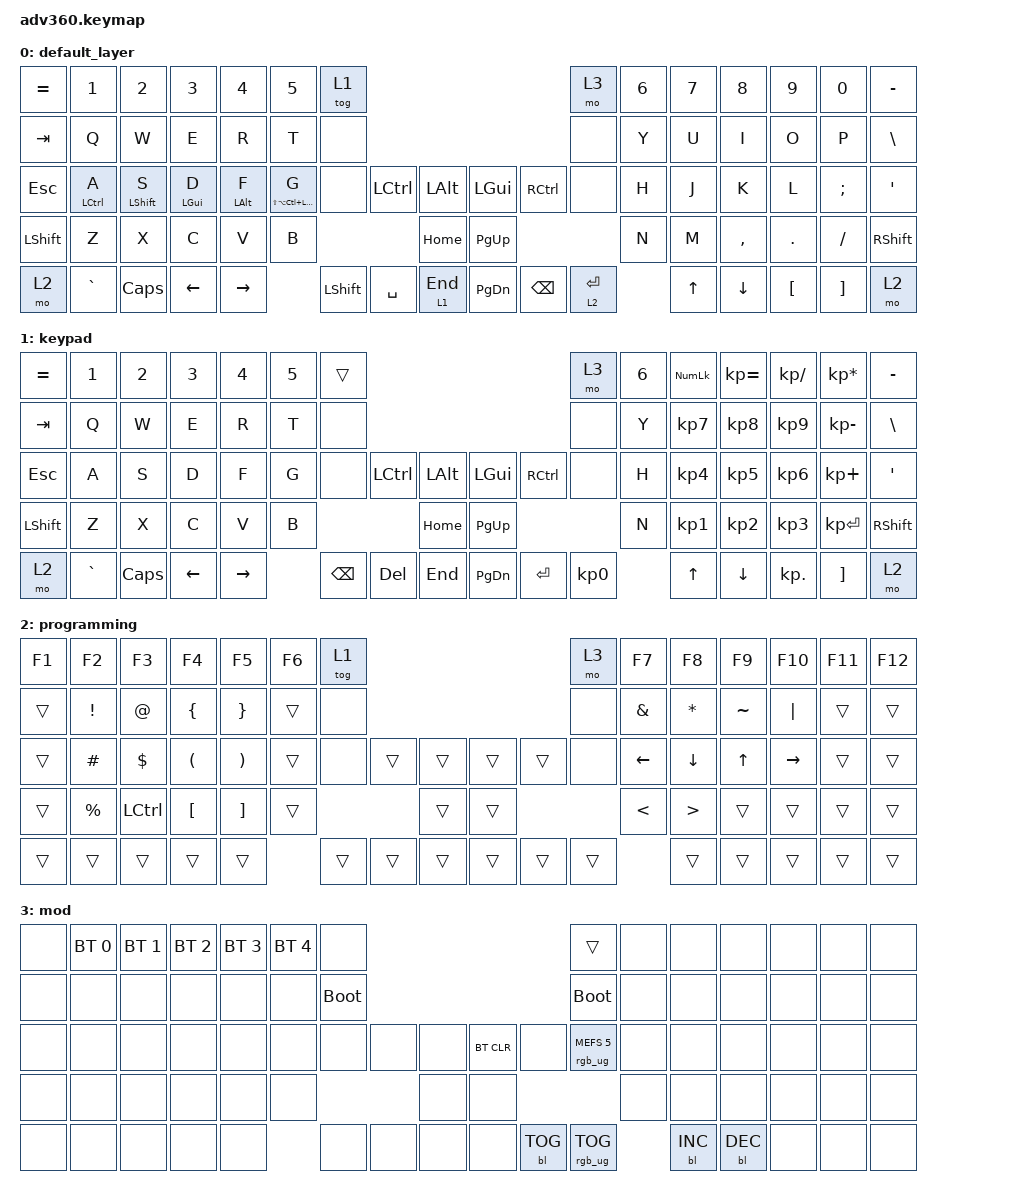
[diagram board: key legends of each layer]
#include <behaviors.dtsi>
#include <dt-bindings/zmk/backlight.h>
#include <dt-bindings/zmk/bt.h>
#include <dt-bindings/zmk/keys.h>
#include <dt-bindings/zmk/rgb.h>

/ {
    behaviors {
        #include "macros.dtsi"

        hm: homerow_mods {
            compatible = "zmk,behavior-hold-tap";
            label = "HOMEROW_MODS";
            #binding-cells = <2>;
            tapping-term-ms = <200>;
            quick_tap_ms = <175>;
            flavor = "tap-preferred";
            bindings = <&kp>, <&kp>;
        };
    };

    keymap {
        compatible = "zmk,keymap";

        default_layer {
            bindings = <
&kp EQUAL  &kp N1              &kp N2            &kp N3          &kp N4          &kp N5                      &tog 1                                                          &mo 3        &kp N6  &kp N7  &kp N8     &kp N9    &kp N0    &kp MINUS
&kp TAB    &kp Q               &kp W             &kp E           &kp R           &kp T                       &none                                                           &none        &kp Y   &kp U   &kp I      &kp O     &kp P     &kp BSLH
&kp ESC    &hm LEFT_CONTROL A  &hm LEFT_SHIFT S  &hm LEFT_GUI D  &hm LEFT_ALT F  &hm LS(LA(LC(LEFT_GUI))) G  &none       &kp LCTRL  &kp LALT       &kp LGUI   &kp RCTRL      &none        &kp H   &kp J   &kp K      &kp L     &kp SEMI  &kp SQT
&kp LSHFT  &kp Z               &kp X             &kp C           &kp V           &kp B                                              &kp HOME       &kp PG_UP                              &kp N   &kp M   &kp COMMA  &kp DOT   &kp FSLH  &kp RSHFT
&mo 2      &kp GRAVE           &kp CAPS          &kp LEFT        &kp RIGHT                                   &kp LSHIFT  &kp SPACE  &lt 1 END      &kp PG_DN  &kp BACKSPACE  &lt 2 ENTER          &kp UP  &kp DOWN   &kp LBKT  &kp RBKT  &mo 2
            >;
        };

        keypad {
            bindings = <
&kp EQUAL  &kp N1     &kp N2    &kp N3    &kp N4     &kp N5  &trans                                                   &mo 3      &kp N6  &kp KP_NUM  &kp KP_EQUAL  &kp KP_DIVIDE  &kp KP_MULTIPLY  &kp MINUS
&kp TAB    &kp Q      &kp W     &kp E     &kp R      &kp T   &none                                                    &none      &kp Y   &kp KP_N7   &kp KP_N8     &kp KP_N9      &kp KP_MINUS     &kp BSLH
&kp ESC    &kp A      &kp S     &kp D     &kp F      &kp G   &none     &kp LCTRL  &kp LALT      &kp LGUI   &kp RCTRL  &none      &kp H   &kp KP_N4   &kp KP_N5     &kp KP_N6      &kp KP_PLUS      &kp SQT
&kp LSHFT  &kp Z      &kp X     &kp C     &kp V      &kp B                        &kp HOME      &kp PG_UP                        &kp N   &kp KP_N1   &kp KP_N2     &kp KP_N3      &kp KP_ENTER     &kp RSHFT
&mo 2      &kp GRAVE  &kp CAPS  &kp LEFT  &kp RIGHT          &kp BSPC  &kp DEL    &kp END       &kp PG_DN  &kp ENTER  &kp KP_N0          &kp UP      &kp DOWN      &kp KP_DOT     &kp RBKT         &mo 2
            >;
        };

        programming {
            bindings = <
&kp F1  &kp F2           &kp F3       &kp F4                &kp F5                 &kp F6  &tog 1                                      &mo 3   &kp F7          &kp F8            &kp F9        &kp F10          &kp F11  &kp F12
&trans  &kp EXCLAMATION  &kp AT_SIGN  &kp LEFT_BRACE        &kp RIGHT_BRACE        &trans  &none                                       &none   &kp AMPERSAND   &kp ASTERISK      &kp TILDE     &kp PIPE         &trans   &trans
&trans  &kp HASH         &kp DOLLAR   &kp LEFT_PARENTHESIS  &kp RIGHT_PARENTHESIS  &trans  &none   &trans  &trans      &trans  &trans  &none   &kp LEFT_ARROW  &kp DOWN_ARROW    &kp UP_ARROW  &kp RIGHT_ARROW  &trans   &trans
&trans  &kp PERCENT      &kp LCTRL    &kp LEFT_BRACKET      &kp RIGHT_BRACKET      &trans                  &trans      &trans                  &kp LESS_THAN   &kp GREATER_THAN  &trans        &trans           &trans   &trans
&trans  &trans           &trans       &trans                &trans                         &trans  &trans  &trans      &trans  &trans  &trans                  &trans            &trans        &trans           &trans   &trans
            >;
        };

        mod {
            bindings = <
&none  &bt BT_SEL 0  &bt BT_SEL 1  &bt BT_SEL 2  &bt BT_SEL 3  &bt BT_SEL 4  &none                                                  &trans                  &none  &none       &none       &none  &none  &none
&none  &none         &none         &none         &none         &none         &bootloader                                            &bootloader             &none  &none       &none       &none  &none  &none
&none  &none         &none         &none         &none         &none         &none        &none  &none      &bt BT_CLR  &none       &rgb_ug RGB_MEFS_CMD 5  &none  &none       &none       &none  &none  &none
&none  &none         &none         &none         &none         &none                             &none      &none                                           &none  &none       &none       &none  &none  &none
&none  &none         &none         &none         &none                       &none        &none  &none      &none       &bl BL_TOG  &rgb_ug RGB_TOG                &bl BL_INC  &bl BL_DEC  &none  &none  &none
            >;
        };
    };
};
